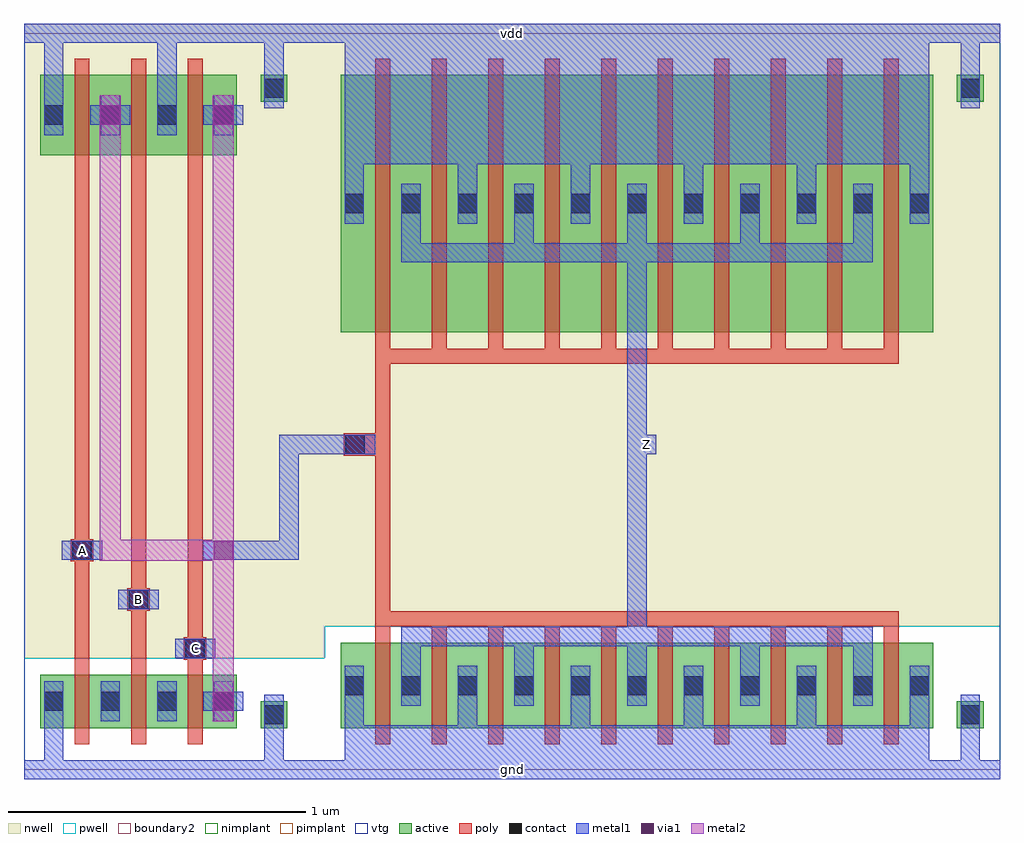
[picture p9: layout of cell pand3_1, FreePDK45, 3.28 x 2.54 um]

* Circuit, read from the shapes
.subckt pand3_1 A B C Z gnd vdd
M1 pnand3_1_0/nmos_m1_w0_180_a_p_3/D A gnd gnd nfet w=0.18u l=0.05u
M2 pnand3_1_0/nmos_m1_w0_180_a_p_4/D B pnand3_1_0/nmos_m1_w0_180_a_p_3/D gnd nfet w=0.18u l=0.05u
M3 pinv_17_1/A C pnand3_1_0/nmos_m1_w0_180_a_p_4/D gnd nfet w=0.18u l=0.05u
M4 Z pinv_17_1/A gnd gnd nfet w=0.2875u l=0.05u m=10
M5 pinv_17_1/A A vdd vdd pfet w=0.27u l=0.05u
M6 vdd B pinv_17_1/A vdd pfet w=0.27u l=0.05u
M7 pinv_17_1/A C vdd vdd pfet w=0.27u l=0.05u
M8 Z pinv_17_1/A vdd vdd pfet w=0.865u l=0.05u m=10
.ends

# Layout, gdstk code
import gdstk
lib = gdstk.Library(unit=1e-6, precision=5e-10)
def R(c, l, rs):  # rectangles x0, y0, x1, y1
    for r in rs: c.add(gdstk.rectangle(r[:2], r[2:], *l))
def A(c, l, x, y, w, h, nx, ny, dx, dy):  # array of equal rectangles
    R(c, l, [(x+i*dx, y+j*dy, x+i*dx+w, y+j*dy+h) for i in range(nx) for j in range(ny)])
active = (1, 0)
pwell = (2, 0)
nwell = (3, 0)
nimplant = (4, 0)
pimplant = (5, 0)
vtg = (6, 0)
poly = (9, 0)
contact = (10, 0)
metal1 = (11, 0)
via1 = (12, 0)
metal2 = (13, 0)
boundary2 = (239, 0)

contact_9 = lib.new_cell('contact_9')
R(contact_9, active, [(0,0.0225,0.09,0.1125)])
R(contact_9, nwell, [(-0.055,-0.0325,0.145,0.1675)])
R(contact_9, pimplant, [(0,0.0225,0.09,0.1125)])
R(contact_9, contact, [(0.0125,0.035,0.0775,0.1)])
R(contact_9, metal1, [(0.0125,0,0.0775,0.135)])

pmos_m1_w0_270_a_p = lib.new_cell('pmos_m1_w0_270_a_p')
R(pmos_m1_w0_270_a_p, active, [(0,0,0.28,0.27)])
R(pmos_m1_w0_270_a_p, nwell, [(-0.055,-0.055,0.335,0.325)])
R(pmos_m1_w0_270_a_p, pimplant, [(0,0,0.28,0.27)])
R(pmos_m1_w0_270_a_p, vtg, [(-0.055,-0.055,0.335,0.325)])
R(pmos_m1_w0_270_a_p, poly, [(0.115,-0.055,0.165,0.325), (0.115,-0.055,0.165,0.325)])
R(pmos_m1_w0_270_a_p, metal1, [(0.0125,0.0675,0.0775,0.2025), (0.2025,0.0675,0.2675,0.2025)])
pmos_m1_w0_270_a_p.add(gdstk.Reference(contact_9, (0,0.0675)))
pmos_m1_w0_270_a_p.add(gdstk.Reference(contact_9, (0.19,0.0675)))
pmos_m1_w0_270_a_p.add(gdstk.Label('G', (0.14,0.135), layer=9, texttype=0))
pmos_m1_w0_270_a_p.add(gdstk.Label('S', (0.045,0.135), layer=11, texttype=0))
pmos_m1_w0_270_a_p.add(gdstk.Label('D', (0.235,0.135), layer=11, texttype=0))

contact_14 = lib.new_cell('contact_14')
R(contact_14, active, [(0,0.0225,0.09,0.1125)])
R(contact_14, pwell, [(-0.055,-0.0325,0.145,0.1675)])
R(contact_14, nimplant, [(0,0.0225,0.09,0.1125)])
R(contact_14, contact, [(0.0125,0.035,0.0775,0.1)])
R(contact_14, metal1, [(0.0125,0,0.0775,0.135)])

nmos_m1_w0_180_a_p = lib.new_cell('nmos_m1_w0_180_a_p')
R(nmos_m1_w0_180_a_p, active, [(0,0,0.28,0.18)])
R(nmos_m1_w0_180_a_p, pwell, [(-0.055,-0.055,0.335,0.235)])
R(nmos_m1_w0_180_a_p, nimplant, [(0,0,0.28,0.18)])
R(nmos_m1_w0_180_a_p, vtg, [(-0.055,-0.055,0.335,0.235)])
R(nmos_m1_w0_180_a_p, poly, [(0.115,-0.055,0.165,0.235), (0.115,-0.055,0.165,0.235)])
R(nmos_m1_w0_180_a_p, metal1, [(0.0125,0.0225,0.0775,0.1575), (0.2025,0.0225,0.2675,0.1575)])
nmos_m1_w0_180_a_p.add(gdstk.Reference(contact_14, (0,0.0225)))
nmos_m1_w0_180_a_p.add(gdstk.Reference(contact_14, (0.19,0.0225)))
nmos_m1_w0_180_a_p.add(gdstk.Label('G', (0.14,0.09), layer=9, texttype=0))
nmos_m1_w0_180_a_p.add(gdstk.Label('S', (0.045,0.09), layer=11, texttype=0))
nmos_m1_w0_180_a_p.add(gdstk.Label('D', (0.235,0.09), layer=11, texttype=0))

contact_18 = lib.new_cell('contact_18')
R(contact_18, active, [(0,0.0225,0.09,0.1125)])
R(contact_18, nwell, [(-0.055,-0.0325,0.145,0.1675)])
R(contact_18, nimplant, [(0,0.0225,0.09,0.1125)])
R(contact_18, contact, [(0.0125,0.035,0.0775,0.1)])
R(contact_18, metal1, [(0.0125,0,0.0775,0.135)])

contact_19 = lib.new_cell('contact_19')
R(contact_19, active, [(0,0.0225,0.09,0.1125)])
R(contact_19, pwell, [(-0.055,-0.0325,0.145,0.1675)])
R(contact_19, pimplant, [(0,0.0225,0.09,0.1125)])
R(contact_19, contact, [(0.0125,0.035,0.0775,0.1)])
R(contact_19, metal1, [(0.0125,0,0.0775,0.135)])

contact_10 = lib.new_cell('contact_10')
R(contact_10, poly, [(0.03,0,0.105,0.075)])
R(contact_10, contact, [(0.035,0.005,0.1,0.07)])
R(contact_10, metal1, [(0,0.005,0.135,0.07)])

contact_16 = lib.new_cell('contact_16')
R(contact_16, metal1, [(0,0.035,0.135,0.1)])
R(contact_16, via1, [(0.035,0.035,0.1,0.1)])
R(contact_16, metal2, [(0.0325,0,0.1025,0.135)])

pnand3_1 = lib.new_cell('pnand3_1')
R(pnand3_1, pwell, [(0,-0.0325,1.01,0.375)])
R(pnand3_1, nwell, [(0,0.375,1.01,2.5075)])
R(pnand3_1, vtg, [(0,-0.0325,1.01,0.375), (0,0.375,1.01,2.5075)])
A(pnand3_1, poly, 0.17, 0.085, 0.05, 1.925, 3, 1, 0.19, 0)
R(pnand3_1, poly, [(0.55,0.37,0.575,0.445), (0.36,0.535,0.385,0.61), (0.17,0.7,0.195,0.775)])
R(pnand3_1, metal1, [(0,-0.0325,1.01,0.0325), (0.0675,-0.0325,0.1325,0.1625), (0.8075,0,0.8725,0.185), (0.5075,0.375,0.6425,0.44), (0.3175,0.54,0.4525,0.605), (0.1275,0.705,0.2625,0.77), (0.6025,0.705,0.7375,0.77), (0.0675,2.1325,0.1325,2.5075), (0.4475,2.1325,0.5125,2.5075), (0.8075,2.29,0.8725,2.475), (0,2.4425,1.01,2.5075)])
R(pnand3_1, metal2, [(0.635,0.2975,0.705,2.1325), (0.635,0.2975,0.705,0.7375), (0.255,0.7025,0.325,0.7725), (0.29,0.7025,0.67,0.7725), (0.635,0.7025,0.705,0.7725), (0.255,0.7375,0.325,2.1325)])
R(pnand3_1, boundary2, [(0,0,1.01,2.475)])
pnand3_1.add(gdstk.Reference(pmos_m1_w0_270_a_p, (0.055,2.065)))
pnand3_1.add(gdstk.Reference(pmos_m1_w0_270_a_p, (0.245,2.065)))
pnand3_1.add(gdstk.Reference(pmos_m1_w0_270_a_p, (0.435,2.065)))
pnand3_1.add(gdstk.Reference(nmos_m1_w0_180_a_p, (0.055,0.14)))
pnand3_1.add(gdstk.Reference(nmos_m1_w0_180_a_p, (0.245,0.14)))
pnand3_1.add(gdstk.Reference(nmos_m1_w0_180_a_p, (0.435,0.14)))
pnand3_1.add(gdstk.Reference(contact_18, (0.795,2.2225)))
pnand3_1.add(gdstk.Reference(contact_19, (0.795,0.1175)))
pnand3_1.add(gdstk.Reference(contact_10, (0.5075,0.37)))
pnand3_1.add(gdstk.Reference(contact_10, (0.3175,0.535)))
pnand3_1.add(gdstk.Reference(contact_10, (0.1275,0.7)))
pnand3_1.add(gdstk.Reference(contact_16, (0.2225,2.1325)))
pnand3_1.add(gdstk.Reference(contact_16, (0.6025,2.1325)))
pnand3_1.add(gdstk.Reference(contact_16, (0.6025,0.1625)))
pnand3_1.add(gdstk.Reference(contact_16, (0.6025,0.67)))
pnand3_1.add(gdstk.Label('gnd', (0.505,0), layer=11, texttype=0))
pnand3_1.add(gdstk.Label('vdd', (0.505,2.475), layer=11, texttype=0))
pnand3_1.add(gdstk.Label('C', (0.575,0.4075), layer=11, texttype=0))
pnand3_1.add(gdstk.Label('B', (0.385,0.5725), layer=11, texttype=0))
pnand3_1.add(gdstk.Label('A', (0.195,0.7375), layer=11, texttype=0))
pnand3_1.add(gdstk.Label('Z', (0.67,0.7375), layer=11, texttype=0))

pmos_m10_w0_865_a_p = lib.new_cell('pmos_m10_w0_865_a_p')
R(pmos_m10_w0_865_a_p, active, [(0,0,1.99,0.865)])
R(pmos_m10_w0_865_a_p, nwell, [(-0.055,-0.055,2.045,0.92)])
R(pmos_m10_w0_865_a_p, pimplant, [(0,0,1.99,0.865)])
R(pmos_m10_w0_865_a_p, vtg, [(-0.055,-0.055,2.045,0.92)])
A(pmos_m10_w0_865_a_p, poly, 0.115, -0.055, 0.05, 0.975, 10, 1, 0.19, 0)
R(pmos_m10_w0_865_a_p, poly, [(0.115,-0.105,1.875,-0.055)])
A(pmos_m10_w0_865_a_p, metal1, 0.2025, 0.2675, 0.065, 0.165, 5, 1, 0.38, 0)
A(pmos_m10_w0_865_a_p, metal1, 0.0125, 0.4325, 0.065, 0.165, 6, 1, 0.38, 0)
R(pmos_m10_w0_865_a_p, metal1, [(0.2025,0.235,1.7875,0.3), (0.0125,0.565,1.9775,0.63)])
pmos_m10_w0_865_a_p.add(gdstk.Reference(contact_9, (0,0.365)))
pmos_m10_w0_865_a_p.add(gdstk.Reference(contact_9, (0.38,0.365)))
pmos_m10_w0_865_a_p.add(gdstk.Reference(contact_9, (0.76,0.365)))
pmos_m10_w0_865_a_p.add(gdstk.Reference(contact_9, (1.14,0.365)))
pmos_m10_w0_865_a_p.add(gdstk.Reference(contact_9, (1.52,0.365)))
pmos_m10_w0_865_a_p.add(gdstk.Reference(contact_9, (1.9,0.365)))
pmos_m10_w0_865_a_p.add(gdstk.Reference(contact_9, (0.19,0.365)))
pmos_m10_w0_865_a_p.add(gdstk.Reference(contact_9, (0.57,0.365)))
pmos_m10_w0_865_a_p.add(gdstk.Reference(contact_9, (0.95,0.365)))
pmos_m10_w0_865_a_p.add(gdstk.Reference(contact_9, (1.33,0.365)))
pmos_m10_w0_865_a_p.add(gdstk.Reference(contact_9, (1.71,0.365)))
pmos_m10_w0_865_a_p.add(gdstk.Label('G', (0.995,-0.08), layer=9, texttype=0))
pmos_m10_w0_865_a_p.add(gdstk.Label('S', (0.995,0.5975), layer=11, texttype=0))
pmos_m10_w0_865_a_p.add(gdstk.Label('D', (0.995,0.2675), layer=11, texttype=0))

nmos_m10_w0_288_a_p = lib.new_cell('nmos_m10_w0_288_a_p')
R(nmos_m10_w0_288_a_p, active, [(0,0,1.99,0.2875)])
R(nmos_m10_w0_288_a_p, pwell, [(-0.055,-0.055,2.045,0.3425)])
R(nmos_m10_w0_288_a_p, nimplant, [(0,0,1.99,0.2875)])
R(nmos_m10_w0_288_a_p, vtg, [(-0.055,-0.055,2.045,0.3425)])
A(nmos_m10_w0_288_a_p, poly, 0.115, -0.055, 0.05, 0.3975, 10, 1, 0.19, 0)
R(nmos_m10_w0_288_a_p, poly, [(0.115,0.3425,1.875,0.3925)])
A(nmos_m10_w0_288_a_p, metal1, 0.0125, -0.02, 0.065, 0.165, 6, 1, 0.38, 0)
A(nmos_m10_w0_288_a_p, metal1, 0.2025, 0.145, 0.065, 0.165, 5, 1, 0.38, 0)
R(nmos_m10_w0_288_a_p, metal1, [(0.0125,-0.055,1.9775,0.01), (0.2025,0.275,1.7875,0.34)])
nmos_m10_w0_288_a_p.add(gdstk.Reference(contact_14, (0,0.075)))
nmos_m10_w0_288_a_p.add(gdstk.Reference(contact_14, (0.38,0.075)))
nmos_m10_w0_288_a_p.add(gdstk.Reference(contact_14, (0.76,0.075)))
nmos_m10_w0_288_a_p.add(gdstk.Reference(contact_14, (1.14,0.075)))
nmos_m10_w0_288_a_p.add(gdstk.Reference(contact_14, (1.52,0.075)))
nmos_m10_w0_288_a_p.add(gdstk.Reference(contact_14, (1.9,0.075)))
nmos_m10_w0_288_a_p.add(gdstk.Reference(contact_14, (0.19,0.075)))
nmos_m10_w0_288_a_p.add(gdstk.Reference(contact_14, (0.57,0.075)))
nmos_m10_w0_288_a_p.add(gdstk.Reference(contact_14, (0.95,0.075)))
nmos_m10_w0_288_a_p.add(gdstk.Reference(contact_14, (1.33,0.075)))
nmos_m10_w0_288_a_p.add(gdstk.Reference(contact_14, (1.71,0.075)))
nmos_m10_w0_288_a_p.add(gdstk.Label('G', (0.995,0.3675), layer=9, texttype=0))
nmos_m10_w0_288_a_p.add(gdstk.Label('S', (0.995,-0.0225), layer=11, texttype=0))
nmos_m10_w0_288_a_p.add(gdstk.Label('D', (0.995,0.3075), layer=11, texttype=0))

pinv_17 = lib.new_cell('pinv_17')
R(pinv_17, pwell, [(0,-0.0325,2.27,0.4825)])
R(pinv_17, nwell, [(0,0.4825,2.27,2.5075)])
R(pinv_17, vtg, [(0,-0.0325,2.27,0.4825), (0,0.4825,2.27,2.5075)])
R(pinv_17, poly, [(0.17,0.4825,0.22,1.365), (0.1025,1.055,0.17,1.13)])
R(pinv_17, metal1, [(0,-0.0325,2.27,0.0325), (0.0675,-0.0325,2.0325,0.085), (2.1375,0,2.2025,0.185), (1.0175,0.415,1.0825,1.77), (0.035,1.06,0.17,1.125), (1.05,1.06,1.115,1.125), (0.0675,2.035,2.0325,2.5075), (2.1375,2.29,2.2025,2.475), (0,2.4425,2.27,2.5075)])
R(pinv_17, boundary2, [(0,0,2.27,2.475)])
pinv_17.add(gdstk.Reference(pmos_m10_w0_865_a_p, (0.055,1.47)))
pinv_17.add(gdstk.Reference(nmos_m10_w0_288_a_p, (0.055,0.14)))
pinv_17.add(gdstk.Reference(contact_18, (2.125,2.2225)))
pinv_17.add(gdstk.Reference(contact_19, (2.125,0.1175)))
pinv_17.add(gdstk.Reference(contact_10, (0.035,1.055)))
pinv_17.add(gdstk.Label('gnd', (1.135,0), layer=11, texttype=0))
pinv_17.add(gdstk.Label('vdd', (1.135,2.475), layer=11, texttype=0))
pinv_17.add(gdstk.Label('A', (0.1025,1.0925), layer=11, texttype=0))
pinv_17.add(gdstk.Label('Z', (1.0825,1.0925), layer=11, texttype=0))

pand3_1 = lib.new_cell('pand3_1')
R(pand3_1, metal1, [(0,-0.0325,3.28,0.0325), (0.5075,0.375,0.6425,0.44), (0.3175,0.54,0.4525,0.605), (0.1275,0.705,0.2625,0.77), (0.67,0.705,0.89,0.77), (0.8575,0.705,0.9225,0.77), (0.8575,0.7375,0.9225,1.0925), (0.8575,1.06,0.9225,1.125), (0.89,1.06,1.1125,1.125), (2.06,1.06,2.125,1.125), (0,2.4425,3.28,2.5075)])
R(pand3_1, boundary2, [(0,0,3.28,2.475)])
pand3_1.add(gdstk.Reference(pnand3_1, (0,0)))
pand3_1.add(gdstk.Reference(pinv_17, (1.01,0)))
pand3_1.add(gdstk.Label('vdd', (1.64,2.475), layer=11, texttype=0))
pand3_1.add(gdstk.Label('gnd', (1.64,0), layer=11, texttype=0))
pand3_1.add(gdstk.Label('Z', (2.0925,1.0925), layer=11, texttype=0))
pand3_1.add(gdstk.Label('A', (0.195,0.7375), layer=11, texttype=0))
pand3_1.add(gdstk.Label('B', (0.385,0.5725), layer=11, texttype=0))
pand3_1.add(gdstk.Label('C', (0.575,0.4075), layer=11, texttype=0))

lib.write_gds('pand3_1.gds')
